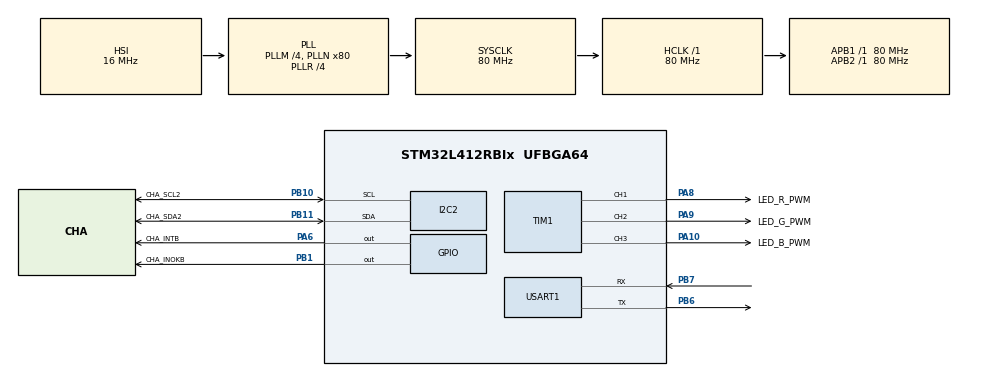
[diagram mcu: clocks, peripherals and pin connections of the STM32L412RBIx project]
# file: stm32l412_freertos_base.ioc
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FREERTOS.Tasks01=defaultTask,24,128,StartDefaultTask,Default,NULL,Dynamic,NULL,NULL
I2C2.Timing=0x10D19CE4
Mcu.Family=STM32L4
Mcu.Name=STM32L412RBIx
Mcu.Package=UFBGA64
NVIC.PriorityGroup=NVIC_PRIORITYGROUP_4
PA10.GPIO_Label=LED_B_PWM
PA10.Signal=S_TIM1_CH3
PA13\ (JTMS/SWDIO).Mode=Serial_Wire
PA13\ (JTMS/SWDIO).Signal=SYS_JTMS-SWDIO
PA14\ (JTCK/SWCLK).Mode=Serial_Wire
PA14\ (JTCK/SWCLK).Signal=SYS_JTCK-SWCLK
PA6.GPIO_Label=CHA_INTB
PA6.Signal=GPIO_Output
PA8.GPIO_Label=LED_R_PWM
PA8.Signal=S_TIM1_CH1
PA9.GPIO_Label=LED_G_PWM
PA9.Signal=S_TIM1_CH2
PB1.GPIO_Label=CHA_INOKB
PB1.Signal=GPIO_Output
PB10.GPIO_Label=CHA_SCL2
PB10.Mode=I2C
PB10.Signal=I2C2_SCL
PB11.GPIO_Label=CHA_SDA2
PB11.Mode=I2C
PB11.Signal=I2C2_SDA
PB6.Mode=Asynchronous
PB6.Signal=USART1_TX
PB7.Mode=Asynchronous
PB7.Signal=USART1_RX
ProjectManager.HeapSize=0x200
ProjectManager.StackSize=0x400
ProjectManager.TargetToolchain=STM32CubeIDE
RCC.ADCFreq_Value=80000000
RCC.AHBFreq_Value=80000000
RCC.APB1Freq_Value=80000000
RCC.APB1TimFreq_Value=80000000
RCC.APB2Freq_Value=80000000
RCC.APB2TimFreq_Value=80000000
RCC.CortexFreq_Value=80000000
RCC.HCLKFreq_Value=80000000
RCC.HSE_VALUE=8000000
RCC.HSI48_VALUE=48000000
RCC.HSI_VALUE=16000000
RCC.LSE_VALUE=32768
RCC.MSI_VALUE=4000000
RCC.PLLN=40
RCC.SYSCLKFreq_VALUE=80000000
RCC.SYSCLKSource=RCC_SYSCLKSOURCE_PLLCLK
RCC.USBFreq_Value=4000000
RCC.VCOOutputFreq_Value=160000000
SH.S_TIM1_CH1.0=TIM1_CH1,PWM Generation1 CH1
SH.S_TIM1_CH2.0=TIM1_CH2,PWM Generation2 CH2
SH.S_TIM1_CH3.0=TIM1_CH3,PWM Generation3 CH3
TIM1.Channel-PWM\ Generation1\ CH1=TIM_CHANNEL_1
TIM1.Channel-PWM\ Generation2\ CH2=TIM_CHANNEL_2
TIM1.Channel-PWM\ Generation3\ CH3=TIM_CHANNEL_3
USART1.VirtualMode-Asynchronous=VM_ASYNC
VP_FREERTOS_VS_CMSIS_V2.Mode=CMSIS_V2
board=custom

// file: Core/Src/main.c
/* USER CODE BEGIN Header */
/**
  ******************************************************************************
  * @file           : main.c
  * @brief          : Main program body
  ******************************************************************************
  * @attention
  *
  * Copyright (c) 2025 STMicroelectronics.
  * All rights reserved.
  *
  * This software is licensed under terms that can be found in the LICENSE file
  * in the root directory of this software component.
  * If no LICENSE file comes with this software, it is provided AS-IS.
  *
  ******************************************************************************
  */
/* USER CODE END Header */
#include "main.h"
#include "cmsis_os.h"

/* USER CODE BEGIN Includes */
#include <stdio.h>
#include "system_config.h"
#include "task_aaaa.h"
/* USER CODE END Includes */

I2C_HandleTypeDef hi2c2;

TIM_HandleTypeDef htim1;

UART_HandleTypeDef huart1;

/* Definitions for defaultTask */
osThreadId_t defaultTaskHandle;
const osThreadAttr_t defaultTask_attributes = {
  .name = "defaultTask",
  .stack_size = 128 * 4,
  .priority = (osPriority_t) osPriorityNormal,
};
/* USER CODE BEGIN PV */
static const osThreadAttr_t ledTask_attributes = {
    .name = "AAAA_Task",
    .priority = TASK_AAAA_PRIORITY,
    .stack_size = TASK_AAAA_STACK_SIZE
};

SemaphoreHandle_t xEventSemaphore;
/* USER CODE END PV */

void SystemClock_Config(void);
static void MX_GPIO_Init(void);
static void MX_I2C2_Init(void);
static void MX_TIM1_Init(void);
static void MX_USART1_UART_Init(void);
void StartDefaultTask(void *argument);

/* USER CODE BEGIN PFP */
#ifdef __GNUC__
#define PUTCHAR_PROTOTYPE int __io_putchar(int ch)
#else
#define PUTCHAR_PROTOTYPE int fputc(int ch, FILE *f)
#endif

PUTCHAR_PROTOTYPE
{
  HAL_UART_Transmit(&huart1, (uint8_t *)&ch, 1, HAL_MAX_DELAY);
  return ch;
}

void vApplicationTickHook(void);
void vApplicationMallocFailedHook(void);
void vApplicationStackOverflowHook(TaskHandle_t xTask, char *pcTaskName);
void vApplicationIdleHook(void);

/* USER CODE END PFP */

/* USER CODE BEGIN 0 */

osMessageQueueId_t xMsg1Queue;
osMessageQueueId_t xMsg2Queue;
osMessageQueueId_t xMsg3Queue;

static const osThreadAttr_t aaaaTask_attributes = {
    .name = "AAAA_Task",
    .priority = TASK_AAAA_PRIORITY,
    .stack_size = TASK_AAAA_STACK_SIZE
};

void vApplicationTickHook(void)
{
   BaseType_t xHigherPriorityTaskWoken = pdFALSE;
   static uint32_t ulCount = 0;

   /* FreeRTOSConfig.h에서 configUSE_TICK_HOOK을 1로 설정하여 RTOS 틱 훅 함수를 활성화합니다.

      500번째 틱 인터럽트마다 세마포어를 '줍니다'. */
   ulCount++;
   if (ulCount >= 500UL)
   {
      /* 이 함수는 인터럽트 컨텍스트(즉, RTOS 틱 인터럽트)에서 호출되므로 "FromISR()"로 끝나는 ISR 안전 API 함수만 사용할 수 있습니다.

         xHigherPriorityTaskWoken은 pdFALSE로 초기화되며, xSemaphoreGiveFromISR()이 세마포어를 주어 중단된 태스크보다 우선순위가 같거나 높은 태스크를 차단 해제하면 pdTRUE로 설정됩니다. **참고:** 예제 목적으로 세마포어를 사용합니다. 실제 애플리케이션에서는 직접 태스크 알림을 사용하는 것이 더 빠르고 RAM을 덜 사용합니다.
         */
      xSemaphoreGiveFromISR(xEventSemaphore, &xHigherPriorityTaskWoken);
      ulCount = 0UL;
   }

   /* xHigherPriorityTaskWoken이 pdTRUE라면, 인터럽트를 종료하기 전에 일반적으로 컨텍스트 스위치를 수행해야 합니다(인터럽트 실행 중에 실행 중인 태스크보다 우선순위가 같거나 높은 태스크가 차단 해제되었기 때문). 컨텍스트 스위치 구문은 포트에 따라 다르므로 사용 중인 포트의 문서를 확인하세요.

      이 경우, 함수는 틱 인터럽트 컨텍스트에서 실행되며, 더 높은 우선순위 태스크를 자동으로 확인하므로 추가 작업은 필요 없습니다. */
}

void vApplicationMallocFailedHook(void)
{
   /* FreeRTOSConfig.h에서 configUSE_MALLOC_FAILED_HOOK을 1로 설정하여 malloc 실패 훅을 활성화합니다.

      pvPortMalloc() 호출이 FreeRTOS 힙에 충분한 여유 메모리가 없어 실패하면 호출됩니다. pvPortMalloc()은 태스크, 큐, 소프트웨어 타이머, 세마포어를 생성하는 FreeRTOS API 함수에서 내부적으로 호출됩니다. FreeRTOS 힙의 크기는 FreeRTOSConfig.h의 configTOTAL_HEAP_SIZE 설정 상수로 설정됩니다. */
   for (;;)
      ;
}

void vApplicationStackOverflowHook(TaskHandle_t xTask, char *pcTaskName)
{
   (void)pcTaskName;
   (void)xTask;

   /* configCHECK_FOR_STACK_OVERFLOW를 FreeRTOSConfig.h에서 1 또는 2로 정의하면 런타임 스택 오버플로우 검사가 수행됩니다. 스택 오버플로우가 감지되면 이 훅 함수가 호출됩니다. 태스크 이름이 손상된 경우 디버거에서 pxCurrentTCB를 검사할 수 있습니다. */
   for (;;)
      ;
}

void vApplicationIdleHook(void)
{
   volatile size_t xFreeStackSpace;

   /* FreeRTOSConfig.h에서 configUSE_IDLE_HOOK을 1로 설정하여 유휴 태스크 훅을 활성화합니다.

      이 함수는 유휴 태스크의 각 사이클에서 호출됩니다. 이 경우 유용한 작업은 하지 않고, FreeRTOS 힙에서 할당되지 않은 여유 공간의 양을 보고합니다. */
   xFreeStackSpace = xPortGetFreeHeapSize();

   if (xFreeStackSpace > 100)
   {
      /* 이 시점에서 커널은 필요한 모든 것을 할당했으므로, 힙에 많은 여유 공간이 남아 있다면 FreeRTOSConfig.h의 configTOTAL_HEAP_SIZE 값을 줄일 수 있습니다.
         */
   }
}
/* USER CODE END 0 */

int main(void)
{

  /* MCU Configuration--------------------------------------------------------*/

  /* Reset of all peripherals, Initializes the Flash interface and the Systick. */
  HAL_Init();

  /* Configure the system clock */
  SystemClock_Config();

  /* Initialize all configured peripherals */
  MX_GPIO_Init();
  MX_I2C2_Init();
  MX_TIM1_Init();
  MX_USART1_UART_Init();
  /* USER CODE BEGIN 2 */
  printf("FreeRTOS started!\n");

  /* USER CODE END 2 */

  /* Init scheduler */
  osKernelInitialize();

  /* USER CODE BEGIN RTOS_QUEUES */
  xMsg1Queue = osMessageQueueNew(msg1QUEUE_LENGTH, sizeof(ButtonEvent_t), NULL);
  xMsg2Queue = osMessageQueueNew(msg2QUEUE_LENGTH, sizeof(ButtonEvent_t), NULL);
  xMsg3Queue = osMessageQueueNew(msg2QUEUE_LENGTH, sizeof(ButtonEvent_t), NULL);

  if(xMsg1Queue == NULL || xMsg2Queue == NULL || xMsg3Queue == NULL) {
      for(;;); /* 큐 생성 실패 */
  }
  /* USER CODE END RTOS_QUEUES */

  /* Create the thread(s) */
  /* creation of defaultTask */
  defaultTaskHandle = osThreadNew(StartDefaultTask, NULL, &defaultTask_attributes);

  /* USER CODE BEGIN RTOS_THREADS */
  osThreadNew(vTaskAAAA, NULL, &aaaaTask_attributes);
  /* USER CODE END RTOS_THREADS */

  /* USER CODE BEGIN RTOS_EVENTS */
  /* add events, ... */
  printf("FreeRTOS started successfully!\n");
  /* USER CODE END RTOS_EVENTS */

  /* Start scheduler */
  osKernelStart();

  /* We should never get here as control is now taken by the scheduler */

  /* Infinite loop */
  while (1)
  {

  }
}

void SystemClock_Config(void)
{
  RCC_OscInitTypeDef RCC_OscInitStruct = {0};
  RCC_ClkInitTypeDef RCC_ClkInitStruct = {0};

  /** Configure the main internal regulator output voltage
  */
  if (HAL_PWREx_ControlVoltageScaling(PWR_REGULATOR_VOLTAGE_SCALE1) != HAL_OK)
  {
    Error_Handler();
  }

  /** Initializes the RCC Oscillators according to the specified parameters
  * in the RCC_OscInitTypeDef structure.
  */
  RCC_OscInitStruct.OscillatorType = RCC_OSCILLATORTYPE_HSI;
  RCC_OscInitStruct.HSIState = RCC_HSI_ON;
  RCC_OscInitStruct.HSICalibrationValue = RCC_HSICALIBRATION_DEFAULT;
  RCC_OscInitStruct.PLL.PLLState = RCC_PLL_ON;
  RCC_OscInitStruct.PLL.PLLSource = RCC_PLLSOURCE_HSI;
  RCC_OscInitStruct.PLL.PLLM = 4;
  RCC_OscInitStruct.PLL.PLLN = 80;
  RCC_OscInitStruct.PLL.PLLQ = RCC_PLLQ_DIV2;
  RCC_OscInitStruct.PLL.PLLR = RCC_PLLR_DIV4;
  if (HAL_RCC_OscConfig(&RCC_OscInitStruct) != HAL_OK)
  {
    Error_Handler();
  }

  /** Initializes the CPU, AHB and APB buses clocks
  */
  RCC_ClkInitStruct.ClockType = RCC_CLOCKTYPE_HCLK|RCC_CLOCKTYPE_SYSCLK
                              |RCC_CLOCKTYPE_PCLK1|RCC_CLOCKTYPE_PCLK2;
  RCC_ClkInitStruct.SYSCLKSource = RCC_SYSCLKSOURCE_PLLCLK;
  RCC_ClkInitStruct.AHBCLKDivider = RCC_SYSCLK_DIV1;
  RCC_ClkInitStruct.APB1CLKDivider = RCC_HCLK_DIV1;
  RCC_ClkInitStruct.APB2CLKDivider = RCC_HCLK_DIV1;

  if (HAL_RCC_ClockConfig(&RCC_ClkInitStruct, FLASH_LATENCY_4) != HAL_OK)
  {
    Error_Handler();
  }
}

static void MX_I2C2_Init(void)
{

  hi2c2.Instance = I2C2;
  hi2c2.Init.Timing = 0x00100D14;
  hi2c2.Init.OwnAddress1 = 0;
  hi2c2.Init.AddressingMode = I2C_ADDRESSINGMODE_7BIT;
  hi2c2.Init.DualAddressMode = I2C_DUALADDRESS_DISABLE;
  hi2c2.Init.OwnAddress2 = 0;
  hi2c2.Init.OwnAddress2Masks = I2C_OA2_NOMASK;
  hi2c2.Init.GeneralCallMode = I2C_GENERALCALL_DISABLE;
  hi2c2.Init.NoStretchMode = I2C_NOSTRETCH_DISABLE;
  if (HAL_I2C_Init(&hi2c2) != HAL_OK)
  {
    Error_Handler();
  }

  /** Configure Analogue filter
  */
  if (HAL_I2CEx_ConfigAnalogFilter(&hi2c2, I2C_ANALOGFILTER_ENABLE) != HAL_OK)
  {
    Error_Handler();
  }

  /** Configure Digital filter
  */
  if (HAL_I2CEx_ConfigDigitalFilter(&hi2c2, 0) != HAL_OK)
  {
    Error_Handler();
  }

}

static void MX_TIM1_Init(void)
{

  TIM_MasterConfigTypeDef sMasterConfig = {0};
  TIM_OC_InitTypeDef sConfigOC = {0};
  TIM_BreakDeadTimeConfigTypeDef sBreakDeadTimeConfig = {0};

  htim1.Instance = TIM1;
  htim1.Init.Prescaler = 0;
  htim1.Init.CounterMode = TIM_COUNTERMODE_UP;
  htim1.Init.Period = 65535;
  htim1.Init.ClockDivision = TIM_CLOCKDIVISION_DIV1;
  htim1.Init.RepetitionCounter = 0;
  htim1.Init.AutoReloadPreload = TIM_AUTORELOAD_PRELOAD_DISABLE;
  if (HAL_TIM_PWM_Init(&htim1) != HAL_OK)
  {
    Error_Handler();
  }
  sMasterConfig.MasterOutputTrigger = TIM_TRGO_RESET;
  sMasterConfig.MasterOutputTrigger2 = TIM_TRGO2_RESET;
  sMasterConfig.MasterSlaveMode = TIM_MASTERSLAVEMODE_DISABLE;
  if (HAL_TIMEx_MasterConfigSynchronization(&htim1, &sMasterConfig) != HAL_OK)
  {
    Error_Handler();
  }
  sConfigOC.OCMode = TIM_OCMODE_PWM1;
  sConfigOC.Pulse = 0;
  sConfigOC.OCPolarity = TIM_OCPOLARITY_HIGH;
  sConfigOC.OCNPolarity = TIM_OCNPOLARITY_HIGH;
  sConfigOC.OCFastMode = TIM_OCFAST_DISABLE;
  sConfigOC.OCIdleState = TIM_OCIDLESTATE_RESET;
  sConfigOC.OCNIdleState = TIM_OCNIDLESTATE_RESET;
  if (HAL_TIM_PWM_ConfigChannel(&htim1, &sConfigOC, TIM_CHANNEL_1) != HAL_OK)
  {
    Error_Handler();
  }
  if (HAL_TIM_PWM_ConfigChannel(&htim1, &sConfigOC, TIM_CHANNEL_2) != HAL_OK)
  {
    Error_Handler();
  }
  if (HAL_TIM_PWM_ConfigChannel(&htim1, &sConfigOC, TIM_CHANNEL_3) != HAL_OK)
  {
    Error_Handler();
  }
  sBreakDeadTimeConfig.OffStateRunMode = TIM_OSSR_DISABLE;
  sBreakDeadTimeConfig.OffStateIDLEMode = TIM_OSSI_DISABLE;
  sBreakDeadTimeConfig.LockLevel = TIM_LOCKLEVEL_OFF;
  sBreakDeadTimeConfig.DeadTime = 0;
  sBreakDeadTimeConfig.BreakState = TIM_BREAK_DISABLE;
  sBreakDeadTimeConfig.BreakPolarity = TIM_BREAKPOLARITY_HIGH;
  sBreakDeadTimeConfig.BreakFilter = 0;
  sBreakDeadTimeConfig.Break2State = TIM_BREAK2_DISABLE;
  sBreakDeadTimeConfig.Break2Polarity = TIM_BREAK2POLARITY_HIGH;
  sBreakDeadTimeConfig.Break2Filter = 0;
  sBreakDeadTimeConfig.AutomaticOutput = TIM_AUTOMATICOUTPUT_DISABLE;
  if (HAL_TIMEx_ConfigBreakDeadTime(&htim1, &sBreakDeadTimeConfig) != HAL_OK)
  {
    Error_Handler();
  }
  HAL_TIM_MspPostInit(&htim1);

}

static void MX_USART1_UART_Init(void)
{

  huart1.Instance = USART1;
  huart1.Init.BaudRate = 115200;
  huart1.Init.WordLength = UART_WORDLENGTH_8B;
  huart1.Init.StopBits = UART_STOPBITS_1;
  huart1.Init.Parity = UART_PARITY_NONE;
  huart1.Init.Mode = UART_MODE_TX_RX;
  huart1.Init.HwFlowCtl = UART_HWCONTROL_NONE;
  huart1.Init.OverSampling = UART_OVERSAMPLING_16;
  huart1.Init.OneBitSampling = UART_ONE_BIT_SAMPLE_DISABLE;
  huart1.AdvancedInit.AdvFeatureInit = UART_ADVFEATURE_NO_INIT;
  if (HAL_UART_Init(&huart1) != HAL_OK)
  {
    Error_Handler();
  }

}

static void MX_GPIO_Init(void)
{
  GPIO_InitTypeDef GPIO_InitStruct = {0};

  /* GPIO Ports Clock Enable */
  __HAL_RCC_GPIOA_CLK_ENABLE();
  __HAL_RCC_GPIOB_CLK_ENABLE();

  /*Configure GPIO pin Output Level */
  HAL_GPIO_WritePin(CHA_INTB_GPIO_Port, CHA_INTB_Pin, GPIO_PIN_RESET);

  /*Configure GPIO pin Output Level */
  HAL_GPIO_WritePin(CHA_INOKB_GPIO_Port, CHA_INOKB_Pin, GPIO_PIN_RESET);

  /*Configure GPIO pin : CHA_INTB_Pin */
  GPIO_InitStruct.Pin = CHA_INTB_Pin;
  GPIO_InitStruct.Mode = GPIO_MODE_OUTPUT_PP;
  GPIO_InitStruct.Pull = GPIO_NOPULL;
  GPIO_InitStruct.Speed = GPIO_SPEED_FREQ_LOW;
  HAL_GPIO_Init(CHA_INTB_GPIO_Port, &GPIO_InitStruct);

  /*Configure GPIO pin : CHA_INOKB_Pin */
  GPIO_InitStruct.Pin = CHA_INOKB_Pin;
  GPIO_InitStruct.Mode = GPIO_MODE_OUTPUT_PP;
  GPIO_InitStruct.Pull = GPIO_NOPULL;
  GPIO_InitStruct.Speed = GPIO_SPEED_FREQ_LOW;
  HAL_GPIO_Init(CHA_INOKB_GPIO_Port, &GPIO_InitStruct);

}

void StartDefaultTask(void *argument)
{
  for(;;)
  {
    osDelay(1);
  }
}

void Error_Handler(void)
{
  __disable_irq();
  while (1)
  {
  }
}
